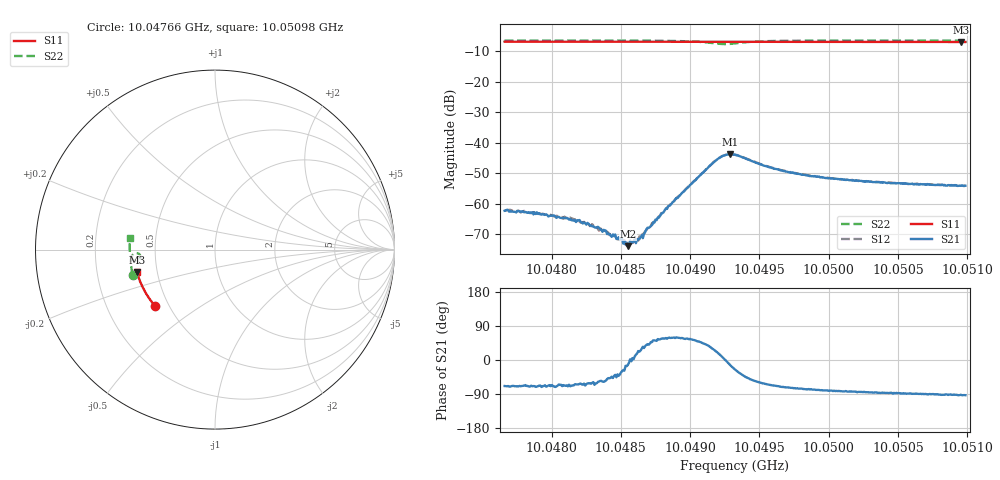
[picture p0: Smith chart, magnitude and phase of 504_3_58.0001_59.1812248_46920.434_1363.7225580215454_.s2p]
#  HZ  S  RI  R  50.00
! Rohde & Schwarz Vector Network Analyzer
! Rohde-Schwarz,ZNB20-2Port,1311601062101988,3.16
! Created: UTC 3/21/2024, 1:12:55 AM
! freq[Hz]  re:S11  im:S11  re:S21  im:S21  re:S12  im:S12  re:S22  im:S22
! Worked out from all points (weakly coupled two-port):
!   401 points, 10.04766 GHz to 10.05098 GHz, reference 50 ohm
!   highest |S21| = -43.80 dB at 10.04929 GHz (marker M1); lowest = -74.0 dB at 10.04855 GHz (marker M2)
!   lowest |S11| = -6.9 dB at 10.05095 GHz (marker M3), VSWR 2.65, Z = 19.2 - j6 ohm
!   |S11| at or under -10 dB: nowhere
!   |S22| runs from -7.6 to -6.4 dB; largest |S21 - S12| = 0.00044
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1.0047662e10  -0.3342 -0.313  0.000278 -0.000711  0.000337 -0.000708  -0.4576 -0.1402
1.0047886e10  -0.3438 -0.3017  0.000221 -0.000637  0.000335 -0.000658  -0.4615 -0.125
1.0048152e10  -0.3546 -0.288  0.000205 -0.000487  0.000261 -0.000505  -0.4654 -0.1066
1.0048218e10  -0.3573 -0.2845  0.000209 -0.000441  0.000244 -0.000434  -0.466 -0.102
1.0048393e10  -0.3642 -0.2753  0.00021 -0.00029  0.000223 -0.000277  -0.4679 -0.089
1.0048418e10  -0.365 -0.2738  0.000208 -0.000235  0.000171 -0.000252  -0.4681 -0.0872
1.0048493e10  -0.3678 -0.2698  0.0002 -0.000158  0.000208 -0.000142  -0.4687 -0.0813
1.0048534e10  -0.3694 -0.2676  0.000205 -5.69e-05  0.000203 -7.54e-05  -0.4691 -0.078
1.0048551e10  -0.37 -0.2668  0.000195 -4.54e-05  0.000223 -3.54e-05  -0.4691 -0.0767
1.0048609e10  -0.3721 -0.2635  0.000217 5.35e-05  0.000252 6.13e-05  -0.4692 -0.0719
1.004865e10  -0.3736 -0.2611  0.000263 0.000149  0.000242 0.000187  -0.4691 -0.0684
1.0048692e10  -0.3752 -0.2591  0.000299 0.000267  0.000269 0.000291  -0.4693 -0.0648
1.0048775e10  -0.3781 -0.2542  0.000344 0.000479  0.000346 0.000514  -0.4689 -0.057
1.0049165e10  -0.3908 -0.232  0.00411 0.00226  0.00398 0.00254  -0.4324 -0.02
1.0049232e10  -0.3929 -0.2283  0.00598 0.00082  0.00593 0.00117  -0.4169 -0.0324
1.004929e10  -0.3946 -0.2252  0.00627 -0.00156  0.0064 -0.00113  -0.4172 -0.0517
1.0049323e10  -0.3955 -0.2232  0.00575 -0.00269  0.00594 -0.00233  -0.4241 -0.0598
1.0049589e10  -0.404 -0.208  0.00151 -0.00353  0.00177 -0.00348  -0.4665 -0.0451
1.004988e10  -0.4119 -0.1906  0.000576 -0.00277  0.00073 -0.00276  -0.4742 -0.017
1.0050437e10  -0.425 -0.1567  0.000111 -0.00219  0.000239 -0.00221  -0.4753 0.0254
1.0050952e10  -0.4346 -0.1244  -5.99e-05 -0.00196  3.56e-05 -0.00198  -0.472 0.061
1.0050985e10  -0.4353 -0.1222  -9.96e-05 -0.00197  8.55e-06 -0.00198  -0.4718 0.0633
